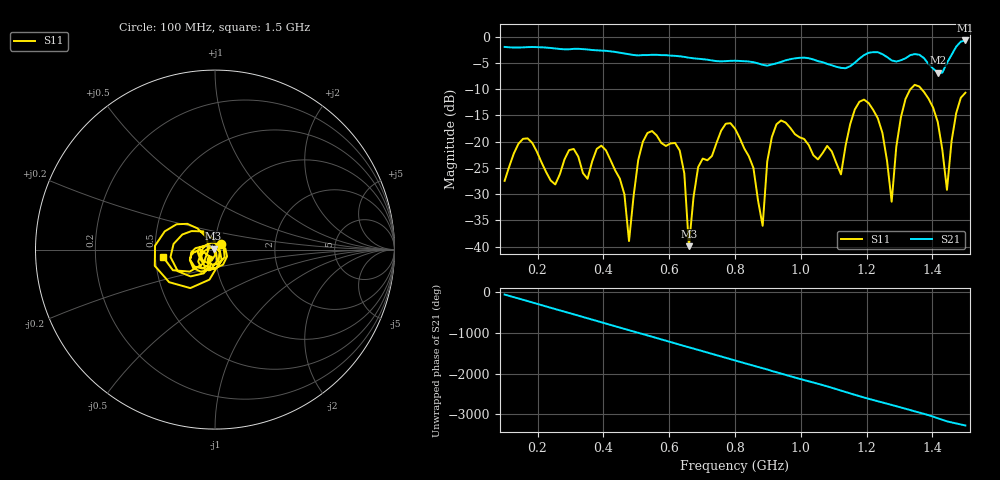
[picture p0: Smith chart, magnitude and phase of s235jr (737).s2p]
! NanoVNA-App
! Date: 2025-09-25 15:09:54
! Start: 100MHz Stop: 1,5GHz Points: 101
! S-Parameter data: F S11 S21 S12 S22
# Hz S RI R 50
!  Frequency  S11_Real  S11_Imag  S21_Real  S21_Imag  S12_Real  S12_Imag  S22_Real  S22_Imag
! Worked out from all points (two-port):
!   101 points, 100 MHz to 1.5 GHz, reference 50 ohm
!   highest |S21| = -0.73 dB at 1.5 GHz (marker M1); lowest = -6.9 dB at 1.416 GHz (marker M2)
!   |S21| within 3 dB of the highest: start of sweep to 630 MHz; 1.188 GHz to 1.258 GHz (70.26 MHz wide, 5.75 % of centre) (the widest 2 of 4)
!   lowest |S11| = -39.9 dB at 660 MHz (marker M3), VSWR 1.02, Z = 49.2 + j0.58 ohm
!   |S11| at or under -10 dB: start of sweep to 1.333 GHz; 1.367 GHz to end of sweep
!   S12 and S22 are empty: the file has one direction only
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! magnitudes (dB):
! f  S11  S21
! 100 MHz  -27.5  -2.0
! 156 MHz  -19.5  -2.0
! 338 MHz  -26.0  -2.4
! 408 MHz  -21.7  -2.7
! 478 MHz  -38.9  -3.4
! 520 MHz  -20.0  -3.5
! 576 MHz  -20.2  -3.5
! 632 MHz  -21.7  -3.7
! 660 MHz  -39.9  -4.0
! 688 MHz  -24.9  -4.2
! 800 MHz  -17.5  -4.6
! 884 MHz  -36.0  -5.4
! 926 MHz  -16.7  -5.1
! 1.038 GHz  -22.6  -4.4
! 1.122 GHz  -26.2  -6.0
! 1.192 GHz  -12.0  -3.5
! 1.248 GHz  -18.4  -3.4
! 1.276 GHz  -31.4  -4.5
! 1.332 GHz  -10.1  -3.5
! 1.416 GHz  -16.3  -6.9
! 1.444 GHz  -29.2  -5.0
! 1.5 GHz  -10.7  -0.7
